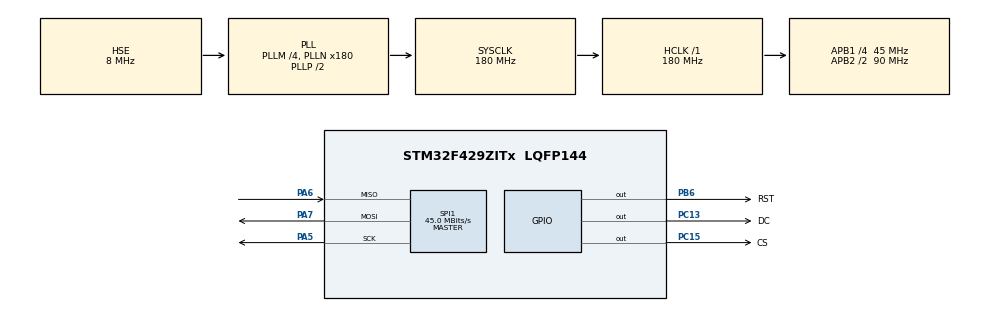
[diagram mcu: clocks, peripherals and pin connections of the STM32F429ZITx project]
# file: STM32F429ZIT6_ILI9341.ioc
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Mcu.Family=STM32F4
Mcu.Name=STM32F429ZITx
Mcu.Package=LQFP144
NVIC.PriorityGroup=NVIC_PRIORITYGROUP_4
PA13.Mode=Serial_Wire
PA13.Signal=SYS_JTMS-SWDIO
PA14.Mode=Serial_Wire
PA14.Signal=SYS_JTCK-SWCLK
PA5.Mode=Full_Duplex_Master
PA5.Signal=SPI1_SCK
PA6.Mode=Full_Duplex_Master
PA6.Signal=SPI1_MISO
PA7.Mode=Full_Duplex_Master
PA7.Signal=SPI1_MOSI
PB6.GPIO_Label=RST
PB6.Signal=GPIO_Output
PC13.GPIO_Label=DC
PC13.Signal=GPIO_Output
PC15/OSC32_OUT.GPIO_Label=CS
PC15/OSC32_OUT.Signal=GPIO_Output
PH0/OSC_IN.Mode=HSE-External-Oscillator
PH0/OSC_IN.Signal=RCC_OSC_IN
PH1/OSC_OUT.Mode=HSE-External-Oscillator
PH1/OSC_OUT.Signal=RCC_OSC_OUT
ProjectManager.HeapSize=0x200
ProjectManager.StackSize=0x400
ProjectManager.TargetToolchain=STM32CubeIDE
RCC.48MHZClocksFreq_Value=45000000
RCC.AHBFreq_Value=180000000
RCC.APB1CLKDivider=RCC_HCLK_DIV4
RCC.APB1Freq_Value=45000000
RCC.APB1TimFreq_Value=90000000
RCC.APB2CLKDivider=RCC_HCLK_DIV2
RCC.APB2Freq_Value=90000000
RCC.APB2TimFreq_Value=180000000
RCC.CortexFreq_Value=180000000
RCC.HCLKFreq_Value=180000000
RCC.HSE_VALUE=8000000
RCC.HSI_VALUE=16000000
RCC.LSE_VALUE=32768
RCC.PLLM=4
RCC.PLLN=180
RCC.PLLQ=8
RCC.PLLSourceVirtual=RCC_PLLSOURCE_HSE
RCC.SYSCLKFreq_VALUE=180000000
RCC.SYSCLKSource=RCC_SYSCLKSOURCE_PLLCLK
RCC.VCOOutputFreq_Value=360000000
SPI1.CalculateBaudRate=45.0 MBits/s
SPI1.Direction=SPI_DIRECTION_2LINES
SPI1.Mode=SPI_MODE_MASTER
SPI1.VirtualType=VM_MASTER
VP_RNG_VS_RNG.Mode=RNG_Activate
board=custom

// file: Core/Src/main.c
/* USER CODE BEGIN Header */
/**
  ******************************************************************************
  * @file           : main.c
  * @brief          : Main program body
  ******************************************************************************
  * @attention
  *
  * <h2><center>&copy; Copyright (c) 2021 STMicroelectronics.
  * All rights reserved.</center></h2>
  *
  * This software component is licensed by ST under BSD 3-Clause license,
  * the "License"; You may not use this file except in compliance with the
  * License. You may obtain a copy of the License at:
  *                        opensource.org/licenses/BSD-3-Clause
  *
  ******************************************************************************
  */
/* USER CODE END Header */
#include "main.h"

/* USER CODE BEGIN Includes */

#include "ILI9341_STM32_Driver.h"
#include "ILI9341_GFX.h"

#include "snow_tiger.h"

//#include "hal_stm_lvgl/tft/tft.h"
#include "../lvgl/lvgl.h"
#include "../lv_examples/lv_examples.h"

/* USER CODE END Includes */

RNG_HandleTypeDef hrng;

SPI_HandleTypeDef hspi1;

void SystemClock_Config(void);
static void MX_GPIO_Init(void);
static void MX_SPI1_Init(void);
static void MX_RNG_Init(void);

/* USER CODE BEGIN 0 */
volatile uint32_t timestamp = 0;
void SysTick_Handler (void)
{
   //сюда попадаем каждую 1 миллисекунду?
   timestamp++;
   HAL_IncTick();
   lv_tick_inc(1);    // 1 ms
}

/* Display flushing */
void my_disp_flush(lv_disp_drv_t *disp, const lv_area_t *area, lv_color_t *color_p)
{
    uint32_t w = (area->x2 - area->x1 + 1);
    uint32_t h = (area->y2 - area->y1 + 1);

	register int x1 = area->x1;
	register int y1 = area->y1;
	register int x2 = area->x2;
	register int y2 = area->y2;

	ILI9341_Set_Address(x1, y1, x2, y2);

	HAL_GPIO_WritePin(GPIOC, DC_Pin, GPIO_PIN_SET);
	HAL_GPIO_WritePin(GPIOC, CS_Pin, GPIO_PIN_RESET);

	HAL_SPI_Transmit(&hspi1, (unsigned char*)color_p, w*h*2, 10);

	HAL_GPIO_WritePin(GPIOC, CS_Pin, GPIO_PIN_SET);

//	ILI9341_Draw_Image((const char*)color_p->full, SCREEN_HORIZONTAL_1);
//    ILI9341_Set_Rotation(SCREEN_HORIZONTAL_2);
//
//	int32_t x, y;
//	    for(y = area->y1; y <= area->y2; y++) {
//	        for(x = area->x1; x <= area->x2; x++) {
//				ILI9341_Draw_Pixel(x, y, color_p->full);
//	            color_p++;
//	        }
//	    }

    lv_disp_flush_ready(disp);
}

static lv_disp_buf_t disp_buf;
static lv_color_t buf[LV_HOR_RES_MAX * LV_VER_RES_MAX/2];

/* USER CODE END 0 */

int main(void)
{

  /* MCU Configuration--------------------------------------------------------*/

  /* Reset of all peripherals, Initializes the Flash interface and the Systick. */
  HAL_Init();

  /* Configure the system clock */
  SystemClock_Config();

  /* Initialize all configured peripherals */
  MX_GPIO_Init();
  MX_SPI1_Init();
  MX_RNG_Init();
  /* USER CODE BEGIN 2 */
  ILI9341_Init();//initial driver setup to drive ili9341
  ILI9341_Set_Rotation(SCREEN_HORIZONTAL_2);

  lv_init();

  lv_disp_buf_init(&disp_buf, buf, NULL, LV_HOR_RES_MAX * 10);

  /*Initialize the display*/
  lv_disp_drv_t disp_drv;
  lv_disp_drv_init(&disp_drv);
  disp_drv.hor_res = 320;
  disp_drv.ver_res = 240;
  disp_drv.flush_cb = my_disp_flush;
  disp_drv.buffer = &disp_buf;
  lv_disp_drv_register(&disp_drv);

//  tft_init();

  lv_demo_widgets();

  /* USER CODE END 2 */

  /* Infinite loop */
  /* USER CODE BEGIN WHILE */
  while (1){
	  lv_task_handler();
	  HAL_Delay(25);
  }

  while (1)
  {

	    ILI9341_Fill_Screen(WHITE);
	    ILI9341_Set_Rotation(SCREEN_HORIZONTAL_2);
	    ILI9341_Draw_Text("FPS TEST, 40 loop 2 screens", 10, 10, BLACK, 1, WHITE);
	    HAL_Delay(2000);
	    ILI9341_Fill_Screen(GREEN);

        uint32_t Timer_Counter = 0;

        char counter_buff[30];
        ILI9341_Fill_Screen(WHITE);
        ILI9341_Set_Rotation(SCREEN_HORIZONTAL_2);
        sprintf(counter_buff, "Timer counter value: %d", Timer_Counter*2);
        ILI9341_Draw_Text(counter_buff, 10, 10, BLACK, 1, WHITE);
	    HAL_Delay(1000);

        double seconds_passed = 2*((float)Timer_Counter / 20000);
        sprintf(counter_buff, "Time: %.3f Sec", seconds_passed);
        ILI9341_Draw_Text(counter_buff, 10, 30, BLACK, 2, WHITE);
	    HAL_Delay(1000);

        double timer_float = 20/(((float)Timer_Counter)/20000); //Frames per sec

	    ILI9341_Fill_Screen(YELLOW);
	    HAL_Delay(1000);

        static uint16_t x = 0;
        static uint16_t y = 0;

        char Temp_Buffer_text[40];

        for(uint16_t i = 0; i <= 10; i++)
        {
        sprintf(Temp_Buffer_text, "Counting: %d", i);
        ILI9341_Draw_Text(Temp_Buffer_text, 10, 10, BLACK, 2, WHITE);
        ILI9341_Draw_Text(Temp_Buffer_text, 10, 30, BLUE, 2, WHITE);
        ILI9341_Draw_Text(Temp_Buffer_text, 10, 50, RED, 2, WHITE);
        ILI9341_Draw_Text(Temp_Buffer_text, 10, 70, GREEN, 2, WHITE);
        ILI9341_Draw_Text(Temp_Buffer_text, 10, 90, BLACK, 2, WHITE);
        ILI9341_Draw_Text(Temp_Buffer_text, 10, 110, BLUE, 2, WHITE);
        ILI9341_Draw_Text(Temp_Buffer_text, 10, 130, RED, 2, WHITE);
        ILI9341_Draw_Text(Temp_Buffer_text, 10, 150, GREEN, 2, WHITE);
        ILI9341_Draw_Text(Temp_Buffer_text, 10, 170, WHITE, 2, BLACK);
        ILI9341_Draw_Text(Temp_Buffer_text, 10, 190, BLUE, 2, BLACK);
        ILI9341_Draw_Text(Temp_Buffer_text, 10, 210, RED, 2, BLACK);
        }

        HAL_Delay(1000);

//        //----------------------------------------------------------LINES EXAMPLE
//		ILI9341_Fill_Screen(WHITE);
//		ILI9341_Set_Rotation(SCREEN_HORIZONTAL_2);
//		ILI9341_Draw_Text("Randomly placed and sized", 10, 10, BLACK, 1, WHITE);
//		ILI9341_Draw_Text("Horizontal and Vertical lines", 10, 20, BLACK, 1, WHITE);
//		HAL_Delay(2000);
//		ILI9341_Fill_Screen(WHITE);
//
//		for(uint32_t i = 0; i < 30000; i++)
//		{
//				uint32_t random_num = 0;
//				uint16_t xr = 0;
//				uint16_t yr = 0;
//				uint16_t radiusr = 0;
//				uint16_t colourr = 0;
//				random_num = HAL_RNG_GetRandomNumber(&hrng);
//				xr = random_num;
//				random_num = HAL_RNG_GetRandomNumber(&hrng);
//				yr = random_num;
//				random_num = HAL_RNG_GetRandomNumber(&hrng);
//				radiusr = random_num;
//				random_num = HAL_RNG_GetRandomNumber(&hrng);
//				colourr = random_num;
//
//				xr &= 0x01FF;
//				yr &= 0x01FF;
//				radiusr &= 0x001F;
//				//ili9341_drawpixel(xr, yr, WHITE);
//				ILI9341_Draw_Horizontal_Line(xr, yr, radiusr, colourr);
//				ILI9341_Draw_Vertical_Line(xr, yr, radiusr, colourr);
//		}
//
//		HAL_Delay(1000);
		//----------------------------------------------------------FILLED CIRCLES EXAMPLE
		ILI9341_Fill_Screen(WHITE);
		ILI9341_Set_Rotation(SCREEN_HORIZONTAL_2);
		ILI9341_Draw_Text("Randomly placed and sized", 10, 10, BLACK, 1, WHITE);
		ILI9341_Draw_Text("Filled Circles", 10, 20, BLACK, 1, WHITE);
		HAL_Delay(2000);
		ILI9341_Fill_Screen(WHITE);

		for(uint32_t i = 0; i < 1000; i++)
		{
				uint32_t random_num = 0;
				uint16_t xr = 0;
				uint16_t yr = 0;
				uint16_t radiusr = 0;
				uint16_t colourr = 0;
				random_num = HAL_RNG_GetRandomNumber(&hrng);
				xr = random_num;
				random_num = HAL_RNG_GetRandomNumber(&hrng);
				yr = random_num;
				random_num = HAL_RNG_GetRandomNumber(&hrng);
				radiusr = random_num;
				random_num = HAL_RNG_GetRandomNumber(&hrng);
				colourr = random_num;

				xr &= 0x01FF;
				yr &= 0x01FF;
				radiusr &= 0x001F;
				//ili9341_drawpixel(xr, yr, WHITE);
				ILI9341_Draw_Filled_Circle(xr, yr, radiusr/2, colourr);
		}
		HAL_Delay(1000);

//		//----------------------------------------------------------HOLLOW RECTANGLES EXAMPLE
//		ILI9341_Fill_Screen(WHITE);
//		ILI9341_Set_Rotation(SCREEN_HORIZONTAL_2);
//		ILI9341_Draw_Text("Randomly placed and sized", 10, 10, BLACK, 1, WHITE);
//		ILI9341_Draw_Text("Rectangles", 10, 20, BLACK, 1, WHITE);
//		HAL_Delay(2000);
//		ILI9341_Fill_Screen(WHITE);
//
//		for(uint32_t i = 0; i < 20000; i++)
//		{
//				uint32_t random_num = 0;
//				uint16_t xr = 0;
//				uint16_t yr = 0;
//				uint16_t radiusr = 0;
//				uint16_t colourr = 0;
//				random_num = HAL_RNG_GetRandomNumber(&hrng);
//				xr = random_num;
//				random_num = HAL_RNG_GetRandomNumber(&hrng);
//				yr = random_num;
//				random_num = HAL_RNG_GetRandomNumber(&hrng);
//				radiusr = random_num;
//				random_num = HAL_RNG_GetRandomNumber(&hrng);
//				colourr = random_num;
//
//				xr &= 0x01FF;
//				yr &= 0x01FF;
//				radiusr &= 0x001F;
//				//ili9341_drawpixel(xr, yr, WHITE);
//				ILI9341_Draw_Hollow_Rectangle_Coord(xr, yr, xr+radiusr, yr+radiusr, colourr);
//		}
//		HAL_Delay(1000);

		//----------------------------------------------------------565 COLOUR EXAMPLE, Grayscale
		ILI9341_Fill_Screen(WHITE);
		ILI9341_Set_Rotation(SCREEN_HORIZONTAL_2);
		ILI9341_Draw_Text("Colour gradient", 10, 10, BLACK, 1, WHITE);
		ILI9341_Draw_Text("Grayscale", 10, 20, BLACK, 1, WHITE);
		HAL_Delay(2000);

		for(uint16_t i = 0; i <= (320); i++)
		{
				uint16_t Red = 0;
				uint16_t Green = 0;
				uint16_t Blue = 0;

				Red = i/(10);
				Red <<= 11;
				Green = i/(5);
				Green <<= 5;
				Blue = i/(10);

				uint16_t RGB_color = Red + Green + Blue;
				ILI9341_Draw_Rectangle(i, x, 1, 240, RGB_color);

		}
		HAL_Delay(2000);

		//----------------------------------------------------------IMAGE EXAMPLE, Snow Tiger
//		ILI9341_Fill_Screen(WHITE);
//		ILI9341_Set_Rotation(SCREEN_HORIZONTAL_2);
//		ILI9341_Draw_Text("RGB Picture", 10, 10, BLACK, 1, WHITE);
//		ILI9341_Draw_Text("TIGER", 10, 20, BLACK, 1, WHITE);
//		HAL_Delay(2000);
//		ILI9341_Draw_Image((const char*)snow_tiger, SCREEN_VERTICAL_2);
//		ILI9341_Set_Rotation(SCREEN_VERTICAL_1);
//		HAL_Delay(5000);

    /* USER CODE END WHILE */

  }
}

void SystemClock_Config(void)
{
  RCC_OscInitTypeDef RCC_OscInitStruct = {0};
  RCC_ClkInitTypeDef RCC_ClkInitStruct = {0};

  /** Configure the main internal regulator output voltage
  */
  __HAL_RCC_PWR_CLK_ENABLE();
  __HAL_PWR_VOLTAGESCALING_CONFIG(PWR_REGULATOR_VOLTAGE_SCALE1);
  /** Initializes the RCC Oscillators according to the specified parameters
  * in the RCC_OscInitTypeDef structure.
  */
  RCC_OscInitStruct.OscillatorType = RCC_OSCILLATORTYPE_HSE;
  RCC_OscInitStruct.HSEState = RCC_HSE_ON;
  RCC_OscInitStruct.PLL.PLLState = RCC_PLL_ON;
  RCC_OscInitStruct.PLL.PLLSource = RCC_PLLSOURCE_HSE;
  RCC_OscInitStruct.PLL.PLLM = 4;
  RCC_OscInitStruct.PLL.PLLN = 180;
  RCC_OscInitStruct.PLL.PLLP = RCC_PLLP_DIV2;
  RCC_OscInitStruct.PLL.PLLQ = 8;
  if (HAL_RCC_OscConfig(&RCC_OscInitStruct) != HAL_OK)
  {
    Error_Handler();
  }
  /** Activate the Over-Drive mode
  */
  if (HAL_PWREx_EnableOverDrive() != HAL_OK)
  {
    Error_Handler();
  }
  /** Initializes the CPU, AHB and APB buses clocks
  */
  RCC_ClkInitStruct.ClockType = RCC_CLOCKTYPE_HCLK|RCC_CLOCKTYPE_SYSCLK
                              |RCC_CLOCKTYPE_PCLK1|RCC_CLOCKTYPE_PCLK2;
  RCC_ClkInitStruct.SYSCLKSource = RCC_SYSCLKSOURCE_PLLCLK;
  RCC_ClkInitStruct.AHBCLKDivider = RCC_SYSCLK_DIV1;
  RCC_ClkInitStruct.APB1CLKDivider = RCC_HCLK_DIV4;
  RCC_ClkInitStruct.APB2CLKDivider = RCC_HCLK_DIV2;

  if (HAL_RCC_ClockConfig(&RCC_ClkInitStruct, FLASH_LATENCY_5) != HAL_OK)
  {
    Error_Handler();
  }
}

static void MX_RNG_Init(void)
{

  hrng.Instance = RNG;
  if (HAL_RNG_Init(&hrng) != HAL_OK)
  {
    Error_Handler();
  }

}

static void MX_SPI1_Init(void)
{

  /* SPI1 parameter configuration*/
  hspi1.Instance = SPI1;
  hspi1.Init.Mode = SPI_MODE_MASTER;
  hspi1.Init.Direction = SPI_DIRECTION_2LINES;
  hspi1.Init.DataSize = SPI_DATASIZE_8BIT;
  hspi1.Init.CLKPolarity = SPI_POLARITY_LOW;
  hspi1.Init.CLKPhase = SPI_PHASE_1EDGE;
  hspi1.Init.NSS = SPI_NSS_SOFT;
  hspi1.Init.BaudRatePrescaler = SPI_BAUDRATEPRESCALER_2;
  hspi1.Init.FirstBit = SPI_FIRSTBIT_MSB;
  hspi1.Init.TIMode = SPI_TIMODE_DISABLE;
  hspi1.Init.CRCCalculation = SPI_CRCCALCULATION_DISABLE;
  hspi1.Init.CRCPolynomial = 10;
  if (HAL_SPI_Init(&hspi1) != HAL_OK)
  {
    Error_Handler();
  }

}

static void MX_GPIO_Init(void)
{
  GPIO_InitTypeDef GPIO_InitStruct = {0};

  /* GPIO Ports Clock Enable */
  __HAL_RCC_GPIOC_CLK_ENABLE();
  __HAL_RCC_GPIOH_CLK_ENABLE();
  __HAL_RCC_GPIOA_CLK_ENABLE();
  __HAL_RCC_GPIOB_CLK_ENABLE();

  /*Configure GPIO pin Output Level */
  HAL_GPIO_WritePin(GPIOC, DC_Pin|CS_Pin, GPIO_PIN_RESET);

  /*Configure GPIO pin Output Level */
  HAL_GPIO_WritePin(RST_GPIO_Port, RST_Pin, GPIO_PIN_RESET);

  /*Configure GPIO pins : DC_Pin CS_Pin */
  GPIO_InitStruct.Pin = DC_Pin|CS_Pin;
  GPIO_InitStruct.Mode = GPIO_MODE_OUTPUT_PP;
  GPIO_InitStruct.Pull = GPIO_NOPULL;
  GPIO_InitStruct.Speed = GPIO_SPEED_FREQ_LOW;
  HAL_GPIO_Init(GPIOC, &GPIO_InitStruct);

  /*Configure GPIO pin : RST_Pin */
  GPIO_InitStruct.Pin = RST_Pin;
  GPIO_InitStruct.Mode = GPIO_MODE_OUTPUT_PP;
  GPIO_InitStruct.Pull = GPIO_NOPULL;
  GPIO_InitStruct.Speed = GPIO_SPEED_FREQ_LOW;
  HAL_GPIO_Init(RST_GPIO_Port, &GPIO_InitStruct);

}

void Error_Handler(void)
{
  __disable_irq();
  while (1)
  {
  }
}

/************************ (C) COPYRIGHT STMicroelectronics *****END OF FILE****/
